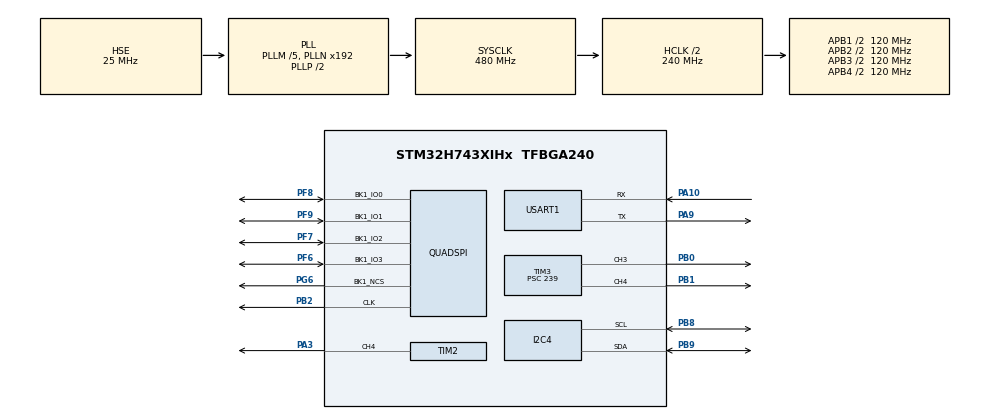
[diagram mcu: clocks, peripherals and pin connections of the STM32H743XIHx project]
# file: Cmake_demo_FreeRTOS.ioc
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CORTEX_M7.default_mode_Activation=1
I2C4.Analog_Filter=I2C_ANALOGFILTER_ENABLE
I2C4.Timing=0x307075B1
Mcu.Family=STM32H7
Mcu.Name=STM32H743XIHx
Mcu.Package=TFBGA240
NVIC.PriorityGroup=NVIC_PRIORITYGROUP_4
NVIC.TIM6_DAC_IRQn=true\:5\:0\:true\:false\:true\:true\:true\:true
NVIC.TIM7_IRQn=true\:15\:0\:false\:false\:true\:false\:true\:true
NVIC.TimeBase=TIM7_IRQn
NVIC.TimeBaseIP=TIM7
NVIC.USART1_IRQn=true\:0\:0\:false\:false\:true\:true\:true\:true
PA10.Mode=Asynchronous
PA10.Signal=USART1_RX
PA13\ (JTMS/SWDIO).Mode=Serial_Wire
PA13\ (JTMS/SWDIO).Signal=DEBUG_JTMS-SWDIO
PA14\ (JTCK/SWCLK).Mode=Serial_Wire
PA14\ (JTCK/SWCLK).Signal=DEBUG_JTCK-SWCLK
PA3.GPIO_Speed=GPIO_SPEED_FREQ_HIGH
PA3.Signal=S_TIM2_CH4
PA9.Mode=Asynchronous
PA9.Signal=USART1_TX
PB0.GPIO_Speed=GPIO_SPEED_FREQ_HIGH
PB0.Signal=S_TIM3_CH3
PB1.GPIO_Speed=GPIO_SPEED_FREQ_HIGH
PB1.Signal=S_TIM3_CH4
PB2.GPIO_Speed=GPIO_SPEED_FREQ_HIGH
PB2.Mode=Single Bank 1
PB2.Signal=QUADSPI_CLK
PB8.Mode=I2C
PB8.Signal=I2C4_SCL
PB9.Mode=I2C
PB9.Signal=I2C4_SDA
PF6.GPIO_Speed=GPIO_SPEED_FREQ_HIGH
PF6.Mode=Single Bank 1
PF6.Signal=QUADSPI_BK1_IO3
PF7.GPIO_Speed=GPIO_SPEED_FREQ_HIGH
PF7.Mode=Single Bank 1
PF7.Signal=QUADSPI_BK1_IO2
PF8.GPIO_Speed=GPIO_SPEED_FREQ_HIGH
PF8.Mode=Single Bank 1
PF8.Signal=QUADSPI_BK1_IO0
PF9.GPIO_Speed=GPIO_SPEED_FREQ_HIGH
PF9.Mode=Single Bank 1
PF9.Signal=QUADSPI_BK1_IO1
PG6.GPIO_Speed=GPIO_SPEED_FREQ_HIGH
PG6.Mode=Single Bank 1
PG6.Signal=QUADSPI_BK1_NCS
PH0-OSC_IN\ (PH0).Mode=HSE-External-Oscillator
PH0-OSC_IN\ (PH0).Signal=RCC_OSC_IN
PH1-OSC_OUT\ (PH1).Mode=HSE-External-Oscillator
PH1-OSC_OUT\ (PH1).Signal=RCC_OSC_OUT
ProjectManager.HeapSize=0x200
ProjectManager.StackSize=0x400
ProjectManager.TargetToolchain=MDK-ARM V5.32
QUADSPI.ChipSelectHighTime=QSPI_CS_HIGH_TIME_6_CYCLE
QUADSPI.ClockMode=QSPI_CLOCK_MODE_3
QUADSPI.ClockPrescaler=1
QUADSPI.FifoThreshold=24
QUADSPI.FlashSize=24
QUADSPI.SampleShifting=QSPI_SAMPLE_SHIFTING_HALFCYCLE
RCC.ADCFreq_Value=50390625
RCC.APB1Freq_Value=120000000
RCC.APB2Freq_Value=120000000
RCC.APB3Freq_Value=120000000
RCC.APB4Freq_Value=120000000
RCC.CortexFreq_Value=480000000
RCC.D1PPRE=RCC_APB3_DIV2
RCC.D2PPRE1=RCC_APB1_DIV2
RCC.D2PPRE2=RCC_APB2_DIV2
RCC.D3PPRE=RCC_APB4_DIV2
RCC.DIVM1=5
RCC.DIVN1=192
RCC.HCLKFreq_Value=240000000
RCC.HPRE=RCC_HCLK_DIV2
RCC.PLLFRACN=0
RCC.PLLSourceVirtual=RCC_PLLSOURCE_HSE
RCC.SYSCLKFreq_VALUE=480000000
RCC.SYSCLKSource=RCC_SYSCLKSOURCE_PLLCLK
RCC.USBFreq_Value=480000000
SH.S_TIM2_CH4.0=TIM2_CH4,PWM Generation4 CH4
SH.S_TIM3_CH3.0=TIM3_CH3,PWM Generation3 CH3
SH.S_TIM3_CH4.0=TIM3_CH4,PWM Generation4 CH4
TIM2.AutoReloadPreload=TIM_AUTORELOAD_PRELOAD_ENABLE
TIM2.Channel-PWM\ Generation4\ CH4=TIM_CHANNEL_4
TIM2.Period=999
TIM2.Prescaler=239
TIM3.AutoReloadPreload=TIM_AUTORELOAD_PRELOAD_ENABLE
TIM3.Channel-PWM\ Generation3\ CH3=TIM_CHANNEL_3
TIM3.Channel-PWM\ Generation4\ CH4=TIM_CHANNEL_4
TIM3.Period=999
TIM3.Prescaler=239
TIM6.Period=999
TIM6.Prescaler=2399
USART1.FIFOMode=FIFOMODE_DISABLE
USART1.VirtualMode-Asynchronous=VM_ASYNC
VP_MEMORYMAP_VS_MEMORYMAP.Mode=CurAppReg
VP_SYS_VS_tim7.Mode=TIM7
VP_TIM6_VS_ClockSourceINT.Mode=Enable_Timer
board=custom

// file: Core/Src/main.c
/* USER CODE BEGIN Header */
/**
  ******************************************************************************
  * @file           : main.c
  * @brief          : Main program body
  ******************************************************************************
  * @attention
  *
  * Copyright (c) 2026 STMicroelectronics.
  * All rights reserved.
  *
  * This software is licensed under terms that can be found in the LICENSE file
  * in the root directory of this software component.
  * If no LICENSE file comes with this software, it is provided AS-IS.
  *
  ******************************************************************************
  */
/* USER CODE END Header */
#include "main.h"
#include "i2c.h"
#include "quadspi.h"
#include "tim.h"
#include "usart.h"
#include "gpio.h"

/* USER CODE BEGIN Includes */
#include <stdio.h>
#include <string.h>
#include "bsp_uart.h"
#include "bsp_i2c_bus.h"
#include "bsp_ap3216c.h"
#include "bsp_mpu6050.h"
#include "sample_task.h"
#include "bsp_rtc.h"
#include "app_events.h"
#include "alarm.h"
#include "ui_task.h"
#include "health.h"
#include "console.h"
#include "config.h"
#include "bsp_qspi_flash.h"
#include "log.h"
#include "bsp_led.h"
#include "FreeRTOS.h"
#include "task.h"
/* USER CODE END Includes */

/* USER CODE BEGIN PD */

/* 日志总开关：0 = 不创建 LoggerTask（用于隔离 Flash/日志问题）。
   关闭时会自动把 HEALTH_LOG 从健康判据移除，避免看门狗误复位。 */
#define LOG_ENABLE   1

/* USER CODE END PD */

void SystemClock_Config(void);
static void MPU_Config(void);
/* USER CODE BEGIN PFP */

static void LedTask(void *argument);
static void MonTask(void *argument);

/* USER CODE END PFP */

int main(void)
{

  /* MPU Configuration--------------------------------------------------------*/
  MPU_Config();

  /* MCU Configuration--------------------------------------------------------*/

  /* Reset of all peripherals, Initializes the Flash interface and the Systick. */
  HAL_Init();

  /* Configure the system clock */
  SystemClock_Config();

  /* Initialize all configured peripherals */
  MX_GPIO_Init();
  MX_USART1_UART_Init();
  MX_I2C4_Init();
  MX_QUADSPI_Init();
  MX_TIM2_Init();
  MX_TIM3_Init();
  MX_TIM6_Init();
  /* USER CODE BEGIN 2 */

#if defined(__GNUC__)
	  /* Keil MicroLIB 的 printf 是无缓冲的；GCC 的 newlib 默认把字符设备设成行缓冲，
	     控制台提示符 "> " 没有换行符，会一直卡在缓冲区里看不到。这里显式关闭缓冲。 */
	  (void)setvbuf(stdout, NULL, _IONBF, 0);
#endif

	  printf("\r\n========================================\r\n");
	  printf(" P0 Logger  -  STM32H743XIH6\r\n");
	  printf(" USART1 @115200 8-N-1\r\n");
	  printf(" built: %s %s\r\n", __DATE__, __TIME__);
	  printf(" type 'help' for the command list\r\n");
	  printf("========================================\r\n");

  /* 复位原因来源：读一次 RSR 保存下来，然后立刻清除。
     注意：RSR 的各个 RSTF 是"粘住"的，不清除的话下次 status 会把历史上
     所有复位原因一起显示（POR+BOR+PIN+SFT+IWDG 全亮），无法判断本次原因。 */
  Health_SetResetFlags(RCC->RSR);
  __HAL_RCC_CLEAR_RESET_FLAGS();

  /* 创建串口 RTOS 对象（uartMutex / txDoneSem）：必须在调度器启动前 */
  Uart_RtosInit();

  /* 创建 I2C 总线互斥量（EEPROM / 传感器共用一条 I2C4）：必须在调度器启动前 */
  I2cBus_Init();

  /* 重要：在调度器启动前调用 FreeRTOS 的"创建类"API（xSemaphoreCreateXxx
     内部的 xQueueGenericReset 有 taskENTER_CRITICAL）会留下 BASEPRI=0x50 的
     中断屏蔽——port.c 里 uxCriticalNesting 的初值是哨兵 0xaaaaaaaa，退出临界区
     时判断 "==0" 不成立，屏蔽不会被清掉。后果：TIM7（HAL 时基）和 TIM6（呼吸灯）
     中断一起被屏蔽，启动阶段任何 HAL_Delay 都会死循环（5.2 首次踩中）。
     这里在所有"创建类"调用之后、任何依赖中断的代码（Led_Init / 传感器初始化）
     之前，手动清一次屏蔽；调度器启动后，第一个临界区退出会自动恢复正常。 */
  __set_BASEPRI(0u);

  Console_Init();

  /* 启动三路 PWM + TIM6 呼吸中断：上电默认绿色呼吸灯 */
  Led_Init();

  /* 上电自动恢复 EEPROM 里的配置（第一次使用会写入默认值） */
  {
    uint8_t cfg_st = Config_Load();

    if (cfg_st == 0u)
    {
      printf("config : loaded (color=%s, brightness=%u)\r\n",
             Console_ColorName(), (unsigned)Console_GetBrightness());
    }
    else if (cfg_st == 1u)
    {
      printf("config : first use, defaults written (color=%s, brightness=%u)\r\n",
             Console_ColorName(), (unsigned)Console_GetBrightness());
    }
    else
    {
      printf("config : EEPROM error (0x%02X)\r\n", (unsigned)cfg_st);
    }
  }

  /* Day 3：检测 QSPI Flash，并扫描日志区里已有的记录条数 */
  {
    uint32_t flash_id = 0u;

    if (Flash_Init(&flash_id) == FLASH_OK)			//flash_id存入ID
    {
      printf("flash  : ID = %06X, 4-byte address mode\r\n", (unsigned)flash_id);

      if (Log_Init() == FLASH_OK)
      {
        printf("log    : %lu record(s), ring %lu slots\r\n",
               (unsigned long)Log_GetCount(), (unsigned long)LOG_CAPACITY);
      }
      else
      {
        printf("log    : scan failed\r\n");
      }
    }
    else
    {
      printf("flash  : no response (check QSPI wiring/clock)\r\n");
    }
  }

  /* Step 5.2：初始化 I2C 传感器（失败只影响对应读数，不阻塞启动） */
  //{}把这段初始化代码里的局部变量"关"在这个块里，避免污染外层函数作用域
  {
    uint8_t ap_st = Ap3216c_Init();
    uint8_t mp_st = Mpu6050_Init();

    printf("sensor : AP3216C %s, MPU6050 %s (ID=0x%02X)\r\n",
           (ap_st == 0u) ? "ok" : "FAIL",
           (mp_st == 0u) ? "ok" : "FAIL",
           (unsigned)Mpu6050_WhoAmI());
  }

  /* Step 5.4：初始化 RTC（LSE 优先；失败退 LSI；都失败则时间戳用 tick） */
  {
    uint8_t rtc_st = Rtc_Init();

    if (rtc_st == 2u)
    {
      printf("rtc    : FAIL (timestamps will use boot tick)\r\n");
    }
    else if (Rtc_IsSet() != 0u)	//RTC 正常且时间已设置
    {
      uint32_t ep = 0u;
      char     ts[24];

      (void)Rtc_GetEpoch(&ep);
      Rtc_FormatEpoch(ep, ts, (uint16_t)sizeof(ts));
      printf("rtc    : %s, calendar %s\r\n",
             (rtc_st == 0u) ? "LSE ok" : "LSI fallback", ts);
    }
    else		//RTC 正常但时间未设置
    {
      printf("rtc    : %s, not set (tick timestamps until 'time set')\r\n",
             (rtc_st == 0u) ? "LSE ok" : "LSI fallback");
    }
  }
  /* USER CODE END 2 */

  /* USER CODE BEGIN WHILE */
  /* ---- Step 3：创建3个验证任务，然后启动调度器 ---- */
  if (xTaskCreate(LedTask, "LED", 128u, NULL, 2u, NULL) != pdPASS)
  {
    printf("rtos   : create LED task failed\r\n");
  }
  if (xTaskCreate(MonTask, "MON", 256u, NULL, 2u, NULL) != pdPASS)
  {
    printf("rtos   : create MON task failed\r\n");
  }

  if (xTaskCreate(ConsoleTask, "CON", 512u, NULL, 3u, NULL) != pdPASS)
  {
    printf("rtos   : create CON task failed\r\n");
  }

  /* Step 7：先建事件组（采样/日志/报警都依赖它），再建报警与 UI */
  AppEvents_Init();

  /* Step 5.3：采样链路（logQueue + EnvTask + MotionTask） */
  Sample_Start();

  /* Step 6：日志写盘任务（消费 logQueue） */
#if (LOG_ENABLE != 0)
  Log_Start();
  if (Log_IsReady() == 0u)
  {
    Health_Disable(HEALTH_LOG);      /* 初始化失败：没人报活，别让看门狗误复位 */
  }
#else
  Health_Disable(HEALTH_LOG);        /* 没启动日志任务，就别让它参与健康判据 */
#endif

  /* Step 7：报警判定与 UI（LED 模式、蜂鸣器 PI8、按键 PA0/PC13） */
  Alarm_Init();
  Ui_Start();

  /* Step 8：健康监控 + IWDG（所有任务正常才喂狗） */
  Health_Start();

  /* 162 行的 __set_BASEPRI(0) 之后又创建了一批 RTOS 对象（xTaskCreate、
     xEventGroupCreate、xQueueCreate、xSemaphoreCreateMutex、xTimerCreate...）。
     调度器启动前 uxCriticalNesting 是哨兵 0xaaaaaaaa，taskEXIT_CRITICAL 不会清
     BASEPRI；此处再清一次，保证启动调度器前 TIM7/USART1/EXTI 中断全开、
     HAL_GetTick() 正常递增，不再只依赖 SVC_Handler 里的兜底。 */
  __set_BASEPRI(0u);

  printf("rtos   : starting scheduler...\r\n");
  vTaskStartScheduler();		//创建IdleTask和软件定时器任务

  /* 正常情况不会到这里；只有堆不足、连 Idle/定时器任务都建不起来时才会返回 */
  while (1)
  {
    /* USER CODE END WHILE */

  }
}

void SystemClock_Config(void)
{
  RCC_OscInitTypeDef RCC_OscInitStruct = {0};
  RCC_ClkInitTypeDef RCC_ClkInitStruct = {0};

  /** Supply configuration update enable
  */
  HAL_PWREx_ConfigSupply(PWR_LDO_SUPPLY);

  /** Configure the main internal regulator output voltage
  */
  __HAL_PWR_VOLTAGESCALING_CONFIG(PWR_REGULATOR_VOLTAGE_SCALE0);

  while(!__HAL_PWR_GET_FLAG(PWR_FLAG_VOSRDY)) {}

  /** Initializes the RCC Oscillators according to the specified parameters
  * in the RCC_OscInitTypeDef structure.
  */
  RCC_OscInitStruct.OscillatorType = RCC_OSCILLATORTYPE_HSE;
  RCC_OscInitStruct.HSEState = RCC_HSE_ON;
  RCC_OscInitStruct.PLL.PLLState = RCC_PLL_ON;
  RCC_OscInitStruct.PLL.PLLSource = RCC_PLLSOURCE_HSE;
  RCC_OscInitStruct.PLL.PLLM = 5;
  RCC_OscInitStruct.PLL.PLLN = 192;
  RCC_OscInitStruct.PLL.PLLP = 2;
  RCC_OscInitStruct.PLL.PLLQ = 2;
  RCC_OscInitStruct.PLL.PLLR = 2;
  RCC_OscInitStruct.PLL.PLLRGE = RCC_PLL1VCIRANGE_2;
  RCC_OscInitStruct.PLL.PLLVCOSEL = RCC_PLL1VCOWIDE;
  RCC_OscInitStruct.PLL.PLLFRACN = 0;
  if (HAL_RCC_OscConfig(&RCC_OscInitStruct) != HAL_OK)
  {
    Error_Handler();
  }

  /** Initializes the CPU, AHB and APB buses clocks
  */
  RCC_ClkInitStruct.ClockType = RCC_CLOCKTYPE_HCLK|RCC_CLOCKTYPE_SYSCLK
                              |RCC_CLOCKTYPE_PCLK1|RCC_CLOCKTYPE_PCLK2
                              |RCC_CLOCKTYPE_D3PCLK1|RCC_CLOCKTYPE_D1PCLK1;
  RCC_ClkInitStruct.SYSCLKSource = RCC_SYSCLKSOURCE_PLLCLK;
  RCC_ClkInitStruct.SYSCLKDivider = RCC_SYSCLK_DIV1;
  RCC_ClkInitStruct.AHBCLKDivider = RCC_HCLK_DIV2;
  RCC_ClkInitStruct.APB3CLKDivider = RCC_APB3_DIV2;
  RCC_ClkInitStruct.APB1CLKDivider = RCC_APB1_DIV2;
  RCC_ClkInitStruct.APB2CLKDivider = RCC_APB2_DIV2;
  RCC_ClkInitStruct.APB4CLKDivider = RCC_APB4_DIV2;

  if (HAL_RCC_ClockConfig(&RCC_ClkInitStruct, FLASH_LATENCY_4) != HAL_OK)
  {
    Error_Handler();
  }
}

/* USER CODE BEGIN 4 */

/**
  * @brief  Step 3 验证任务①：LED 心跳。
  *         每 500 ms 在"绿呼吸"和"熄灭"之间翻转一次，肉眼确认调度器在周期性运行。
  *         栈 128 word = 512 B（只调用 BSP 小函数，configMINIMAL_STACK_SIZE 够用）。
  *         优先级 2：低优先级，不抢任何东西（本项目业务任务将来用 2~6）。
  */
static void LedTask(void *argument)
{
  TickType_t lastWake = xTaskGetTickCount();
  uint8_t    ledOn    = 1u;

  (void)argument;

  for (;;)
  {
    Led_SetColor(ledOn ? COLOR_GREEN : COLOR_OFF);
	  //喂狗操作
    Health_Report(HEALTH_LED);
    ledOn ^= 1u;		//取反
	vTaskDelayUntil(&lastWake, pdMS_TO_TICKS(500));   /* 绝对延时（自从上一次唤醒时间 开始延时，避免任务执行时间偏差）：500ms 一次，不累计漂移 */
  }
}

/**
  * @brief  Step 3 验证任务②：运行监视。
  *         每 30 s 打印 FreeRTOS tick / HAL tick 及各自增量、堆水位、任务列表。
  *         两个 tick 增量应同步 ≈30000（G1 的"增量对比"校验就靠这行输出）。
  *         栈 256 word = 1 KB（printf / vTaskList 的格式化比较吃栈）。
  *         优先级 2：与 LedTask 同级 —— 靠时间片轮转共享 CPU，长打印不会独占。
  */
static void MonTask(void *argument)
{
	//HAL_GetTick固定1ms一跳
	//xTaskGetTickCount()：频率由 FreeRTOSConfig.h 里的 configTICK_RATE_HZ 决定，常见 1000 Hz（1ms），但完全可以配成 100 Hz（10ms）等。
  TickType_t lastWake = xTaskGetTickCount();
  TickType_t prevTick = lastWake;
  uint32_t   prevHal  = HAL_GetTick();
  static char listBuf[512];                  /* vTaskList 要求 ≥512 B 缓冲 */

  (void)argument;

  for (;;)
  {
    TickType_t tickNow = xTaskGetTickCount();
    uint32_t   halNow  = HAL_GetTick();					//固定1ms一跳

    Uart_Printf("[rtos = %lu (+%lu)] [hal = %lu (+%lu)] free=%u min=%u rxdrop=%u q=%u drop=%u\r\n",
                (unsigned long)tickNow, (unsigned long)(tickNow - prevTick),
                (unsigned long)halNow,  (unsigned long)(halNow - prevHal),
                (unsigned)xPortGetFreeHeapSize(),
                (unsigned)xPortGetMinimumEverFreeHeapSize(),
                (unsigned)Uart_RxDropped(),
                (unsigned)Sample_QueueCount(),			//队列现在有多少消息
                (unsigned)Sample_DropCount());

    prevTick = tickNow;
    prevHal  = halNow;

	//vTaskList作用是输出每个任务的详细信息，制作成表格形式
    vTaskList(listBuf);                      /* 需要 TRACE_FACILITY=1 + STATS_FORMATTING=1 */
    Uart_Write(listBuf, (uint16_t)strlen(listBuf));
    Uart_Printf("\r\n");

    Health_Report(HEALTH_MON);
    /* 本周期必须小于 App/system/health.c 的 HEALTH_GAP_MON（35 s），
       否则 HealthTask 会认为 MON 卡死而停止喂狗；改周期时两处必须同步。 */
    vTaskDelayUntil(&lastWake, pdMS_TO_TICKS(30000));
  }
}

/* USER CODE END 4 */
 /*
	*MPU Configuration
	*设定默认配置
*/
void MPU_Config(void)
{
  MPU_Region_InitTypeDef MPU_InitStruct = {0};

  /* 失能MPU */
  HAL_MPU_Disable();

  /*
  * Initializes and configures the Region and the memory to be protected
  */
  MPU_InitStruct.Enable = MPU_REGION_ENABLE;
  MPU_InitStruct.Number = MPU_REGION_NUMBER0;
  MPU_InitStruct.BaseAddress = 0x0;
  MPU_InitStruct.Size = MPU_REGION_SIZE_4GB;
  MPU_InitStruct.SubRegionDisable = 0x87;
  MPU_InitStruct.TypeExtField = MPU_TEX_LEVEL0;
  MPU_InitStruct.AccessPermission = MPU_REGION_NO_ACCESS;
  MPU_InitStruct.DisableExec = MPU_INSTRUCTION_ACCESS_DISABLE;
  MPU_InitStruct.IsShareable = MPU_ACCESS_SHAREABLE;
  MPU_InitStruct.IsCacheable = MPU_ACCESS_NOT_CACHEABLE;
  MPU_InitStruct.IsBufferable = MPU_ACCESS_NOT_BUFFERABLE;

  HAL_MPU_ConfigRegion(&MPU_InitStruct);
  /* 使能 MPU */
  HAL_MPU_Enable(MPU_PRIVILEGED_DEFAULT);

}

void Error_Handler(void)
{
  __disable_irq();
  while (1)
  {
  }
}
